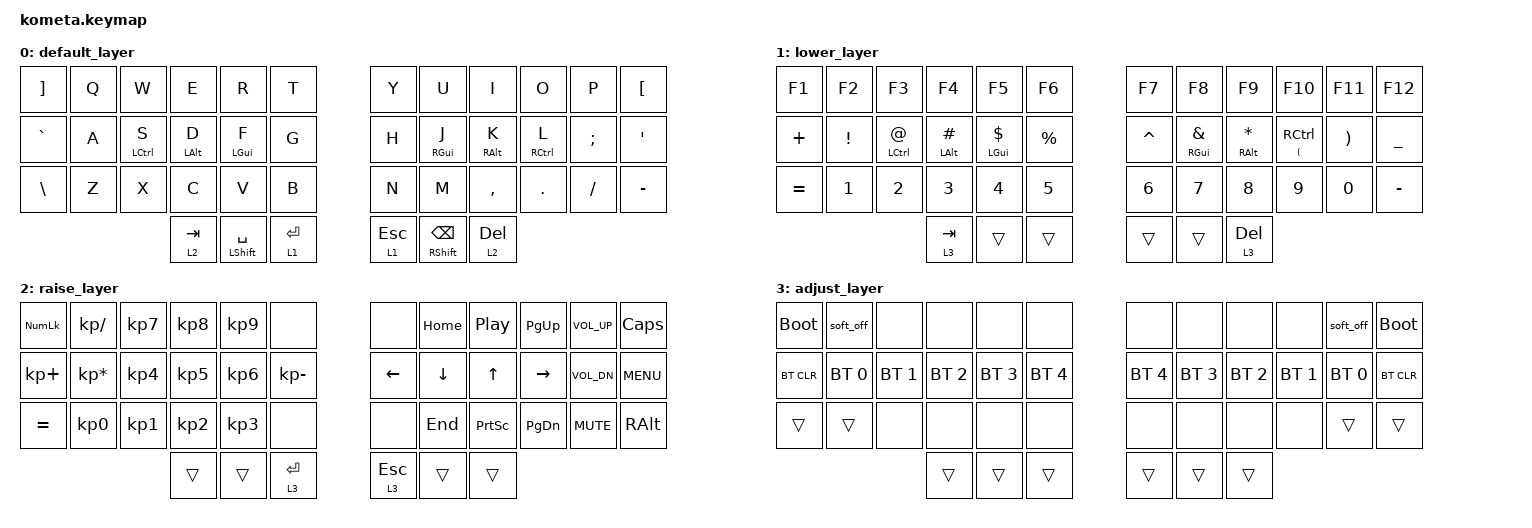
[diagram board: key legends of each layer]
/*
 * Copyright (c) 2020 The ZMK Contributors
 *
 * SPDX-License-Identifier: MIT
 */

#include <behaviors.dtsi>
#include <dt-bindings/zmk/bt.h>
#include <dt-bindings/zmk/keys.h>

#define DEF 0
#define LWR 1
#define RSE 2
#define ADJ 3

&lt { quick_tap_ms = <200>; };

&mt { quick_tap_ms = <200>; };

/ {
};

/ {
    behaviors {
        ht: ht {
            compatible = "zmk,behavior-hold-tap";
            label = "hold_tap";
            bindings = <&kp>, <&kp>;

            #binding-cells = <2>;
            tapping-term-ms = <150>;
            quick-tap-ms = <250>;
            flavor = "tap-preferred";
        };
    };

    keymap {
        compatible = "zmk,keymap";

        default_layer {
            bindings = <
&kp RBKT   &kp Q  &kp W        &kp E           &kp R            &kp T      &kp Y      &kp U            &kp I            &kp O        &kp P     &kp LBKT
&kp GRAVE  &kp A  &ht LCTRL S  &ht LEFT_ALT D  &ht LEFT_GUI F   &kp G      &kp H      &ht RIGHT_GUI J  &ht RIGHT_ALT K  &ht RCTRL L  &kp SEMI  &kp SQT
&kp BSLH   &kp Z  &kp X        &kp C           &kp V            &kp B      &kp N      &kp M            &kp COMMA        &kp DOT      &kp FSLH  &kp MINUS
                               &lt 2 TAB       &mt LSHFT SPACE  &lt 1 RET  &lt 1 ESC  &mt RSHFT BSPC   &lt 2 DEL
            >;
        };

        lower_layer {
            bindings = <
&kp F1     &kp F2        &kp F3               &kp F4             &kp F5               &kp F6       &kp F7        &kp F8              &kp F9              &kp F10                 &kp F11   &kp F12
&kp PLUS   &kp EXCL      &ht LEFT_CONTROL AT  &ht LEFT_ALT HASH  &ht LEFT_GUI DOLLAR  &kp PERCENT  &kp CARET     &ht RIGHT_GUI AMPS  &ht RIGHT_ALT STAR  &ht LPAR RIGHT_CONTROL  &kp RPAR  &kp UNDER
&kp EQUAL  &kp NUMBER_1  &kp NUMBER_2         &kp NUMBER_3       &kp NUMBER_4         &kp N5       &kp NUMBER_6  &kp N7              &kp N8              &kp N9                  &kp N0    &kp MINUS
                                              &lt 3 TAB          &trans               &trans       &trans        &trans              &lt 3 DEL
            >;
        };

        raise_layer {
            bindings = <
&kp KP_NUMLOCK  &kp KP_SLASH     &kp KP_N7  &kp KP_N8  &kp KP_N9  &none         &none      &kp HOME  &kp C_PP   &kp PG_UP  &kp C_VOL_UP  &kp CAPS
&kp KP_PLUS     &kp KP_MULTIPLY  &kp KP_N4  &kp KP_N5  &kp KP_N6  &kp KP_MINUS  &kp LEFT   &kp DOWN  &kp UP     &kp RIGHT  &kp C_VOL_DN  &kp K_MENU
&kp EQUAL       &kp KP_NUMBER_0  &kp KP_N1  &kp KP_N2  &kp KP_N3  &none         &none      &kp END   &kp PSCRN  &kp PG_DN  &kp C_MUTE    &kp RALT
                                            &trans     &trans     &lt 3 RET     &lt 3 ESC  &trans    &trans
            >;
        };

        adjust_layer {
            bindings = <
&bootloader  &soft_off     &none         &none         &none         &none         &none         &none         &none         &none         &soft_off     &bootloader
&bt BT_CLR   &bt BT_SEL 0  &bt BT_SEL 1  &bt BT_SEL 2  &bt BT_SEL 3  &bt BT_SEL 4  &bt BT_SEL 4  &bt BT_SEL 3  &bt BT_SEL 2  &bt BT_SEL 1  &bt BT_SEL 0  &bt BT_CLR
&trans       &trans        &none         &none         &none         &none         &none         &none         &none         &none         &trans        &trans
                                         &trans        &trans        &trans        &trans        &trans        &trans
            >;
        };
    };
};
